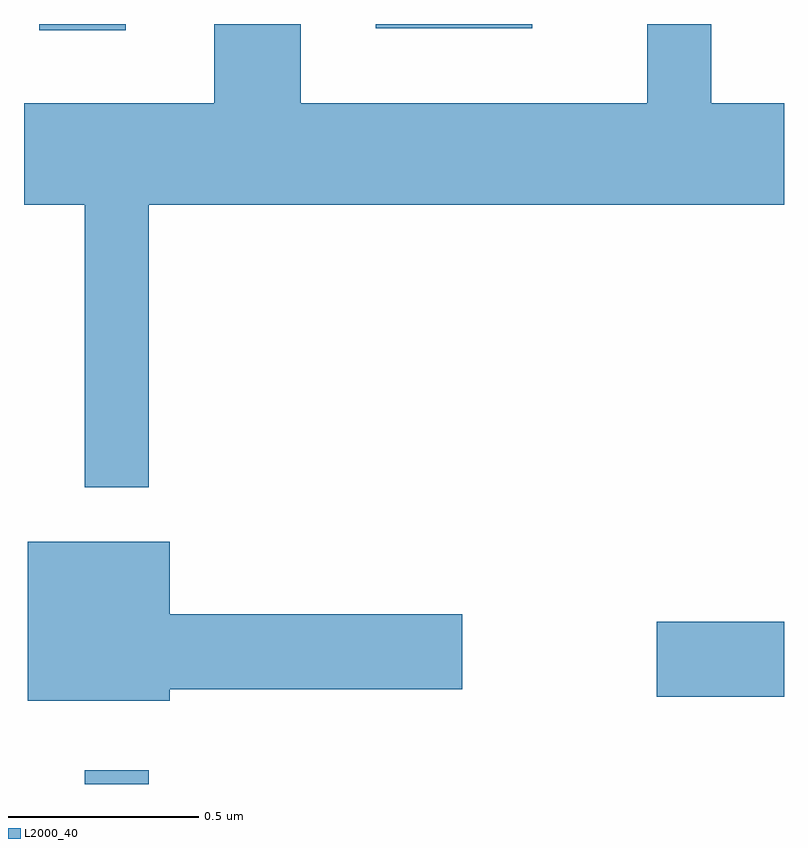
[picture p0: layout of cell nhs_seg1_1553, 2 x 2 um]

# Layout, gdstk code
import gdstk
lib = gdstk.Library(unit=1e-6, precision=1e-09)
def R(c, l, rs):  # rectangles x0, y0, x1, y1
    for r in rs: c.add(gdstk.rectangle(r[:2], r[2:], *l))
def P(c, l, *ps):  # polygons
    for p in ps: c.add(gdstk.Polygon(p, *l))
L2000_40 = (2000, 40)

nhs_seg1_1553 = lib.new_cell('nhs_seg1_1553')
R(nhs_seg1_1553, L2000_40, [(196.771,904.712,196.939,904.748), (198.276,904.941,198.611,905.139), (196.651,906.696,196.879,906.712), (197.536,906.701,197.949,906.712)])
P(nhs_seg1_1553, L2000_40, [(196.939,906.236),(198.611,906.236),(198.611,906.504),(198.419,906.504),(198.419,906.712),(198.251,906.712),(198.251,906.504),(197.339,906.504),(197.339,906.712),(197.111,906.712),(197.111,906.504),(196.611,906.504),(196.611,906.236),(196.771,906.236),(196.771,905.493),(196.939,905.493)],
  [(196.994,904.961),(197.764,904.961),(197.764,905.159),(196.994,905.159),(196.994,905.349),(196.621,905.349),(196.621,904.931),(196.994,904.931)])

lib.write_gds('nhs_seg1_1553.gds')
